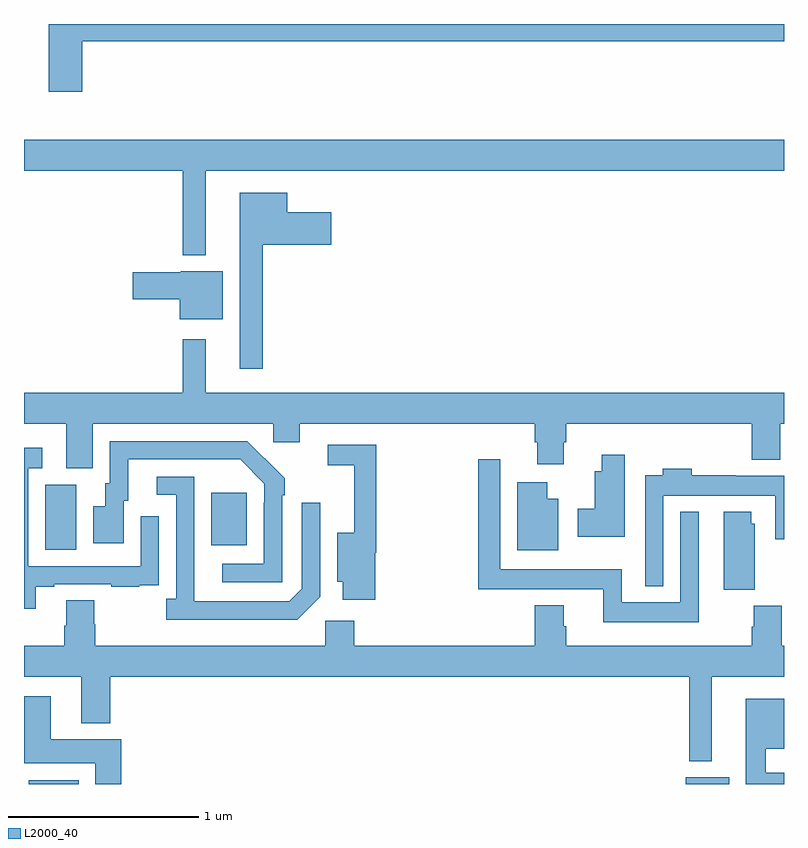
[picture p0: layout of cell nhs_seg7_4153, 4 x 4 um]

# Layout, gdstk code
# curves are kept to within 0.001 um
import gdstk
lib = gdstk.Library(unit=1e-6, precision=1e-09)
def R(c, l, rs):  # rectangles x0, y0, x1, y1
    for r in rs: c.add(gdstk.rectangle(r[:2], r[2:], *l))
def P(c, l, *ps):  # polygons
    for p in ps: c.add(gdstk.Polygon(p, *l))
L2000_40 = (2000, 40)

nhs_seg7_4153 = lib.new_cell('nhs_seg7_4153')
R(nhs_seg7_4153, L2000_40, [(373.025,1052,373.288,1052.02), (376.484,1052,376.711,1052.035), (373.112,1053.232,373.276,1053.576), (373.985,1053.257,374.173,1053.532)])
P(nhs_seg7_4153, L2000_40, [(373.307,1055.908),(377,1055.908),(377,1056),(373.129,1056),(373.129,1055.643),(373.307,1055.643)],
  [(373.957,1055.228),(377,1055.228),(377,1055.392),(373,1055.392),(373,1055.228),(373.836,1055.228),(373.836,1054.784),(373.957,1054.784)],
  [(374.257,1054.838),(374.617,1054.838),(374.617,1055.008),(374.386,1055.008),(374.386,1055.113),(374.135,1055.113),(374.135,1054.185),(374.257,1054.185)],
  [(374.047,1054.699),(373.824,1054.699),(373.824,1054.694),(373.572,1054.694),(373.572,1054.552),(373.82,1054.552),(373.82,1054.445),(374.047,1054.445)],
  [(373.363,1053.896),(374.313,1053.896),(374.313,1053.798),(374.452,1053.798),(374.452,1053.896),(375.689,1053.896),(375.689,1053.798),(375.701,1053.798),(375.701,1053.684),(375.841,1053.684),(375.841,1053.798),(375.854,1053.798),(375.854,1053.896),(376.829,1053.896),(376.829,1053.707),(376.981,1053.707),(376.981,1053.896),(377,1053.896),(377,1054.06),(373.957,1054.06),(373.957,1054.342),(373.836,1054.342),(373.836,1054.06),(373,1054.06),(373,1053.896),(373.223,1053.896),(373.223,1053.661),(373.363,1053.661)],
  [(374.358,1053.521),(374.373,1053.521),(374.373,1053.609),(374.176,1053.804),(373.452,1053.804),(373.452,1053.582),(373.427,1053.582),(373.427,1053.463),(373.364,1053.463),(373.364,1053.267),(373.525,1053.267),(373.525,1053.492),(373.549,1053.492),(373.549,1053.708),(374.137,1053.708),(374.265,1053.579),(374.265,1053.479),(374.262,1053.479),(374.262,1053.159),(374.043,1053.159),(374.043,1053.063),(374.358,1053.063)],
  [(374.849,1053.218),(374.855,1053.218),(374.855,1053.786),(374.598,1053.786),(374.598,1053.678),(374.738,1053.678),(374.738,1053.322),(374.648,1053.322),(374.648,1053.065),(374.678,1053.065),(374.678,1052.97),(374.849,1052.97)],
  [(373.063,1053.039),(373.159,1053.039),(373.159,1053.051),(373.459,1053.051),(373.459,1053.039),(373.607,1053.039),(373.607,1053.045),(373.709,1053.045),(373.709,1053.154),(373.71,1053.154),(373.71,1053.409),(373.614,1053.409),(373.614,1053.147),(373.023,1053.147),(373.023,1053.663),(373.096,1053.663),(373.096,1053.769),(373,1053.769),(373,1052.922),(373.063,1052.922)],
  [(376.162,1053.733),(376.04,1053.733),(376.04,1053.646),(376.004,1053.646),(376.004,1053.45),(375.915,1053.45),(375.915,1053.302),(376.162,1053.302)],
  [(376.552,1053.433),(376.455,1053.433),(376.455,1052.956),(376.146,1052.956),(376.146,1053.13),(375.507,1053.13),(375.507,1053.709),(375.391,1053.709),(375.391,1053.024),(375.514,1053.024),(375.514,1053.026),(376.049,1053.026),(376.049,1052.852),(376.552,1052.852)],
  [(376.365,1053.518),(376.953,1053.518),(376.953,1053.288),(377,1053.288),(377,1053.622),(376.745,1053.622),(376.745,1053.625),(376.514,1053.625),(376.514,1053.658),(376.361,1053.658),(376.361,1053.625),(376.269,1053.625),(376.269,1053.041),(376.365,1053.041)],
  [(374.559,1052.985),(374.559,1053.481),(374.463,1053.481),(374.463,1053.027),(374.397,1052.961),(373.897,1052.961),(373.896,1053.618),(373.698,1053.618),(373.698,1053.522),(373.8,1053.522),(373.8,1052.974),(373.749,1052.974),(373.749,1052.864),(374.438,1052.864)],
  [(375.811,1053.502),(375.754,1053.502),(375.754,1053.589),(375.596,1053.589),(375.596,1053.23),(375.811,1053.23)],
  [(376.846,1053.369),(376.828,1053.369),(376.828,1053.433),(376.682,1053.433),(376.682,1053.022),(376.846,1053.022)],
  [(376.621,1052.564),(377,1052.564),(377,1052.728),(376.989,1052.728),(376.989,1052.937),(376.841,1052.937),(376.841,1052.828),(376.829,1052.828),(376.829,1052.728),(375.854,1052.728),(375.854,1052.829),(375.841,1052.829),(375.841,1052.941),(375.689,1052.941),(375.689,1052.728),(374.738,1052.728),(374.738,1052.86),(374.586,1052.86),(374.586,1052.728),(373.376,1052.728),(373.376,1052.841),(373.371,1052.841),(373.371,1052.966),(373.223,1052.966),(373.223,1052.834),(373.211,1052.834),(373.211,1052.728),(373,1052.728),(373,1052.564),(373.301,1052.564),(373.301,1052.321),(373.454,1052.321),(373.454,1052.564),(376.5,1052.564),(376.5,1052.12),(376.621,1052.12)],
  [(373.511,1052.236),(373.141,1052.236),(373.141,1052.461),(373.001,1052.461),(373.001,1052.108),(373.376,1052.108),(373.376,1052),(373.511,1052)],
  [(377,1052.059),(376.903,1052.059),(376.903,1052.186),(377,1052.186),(377,1052.449),(376.799,1052.449),(376.799,1052),(377,1052)])

lib.write_gds('nhs_seg7_4153.gds')
